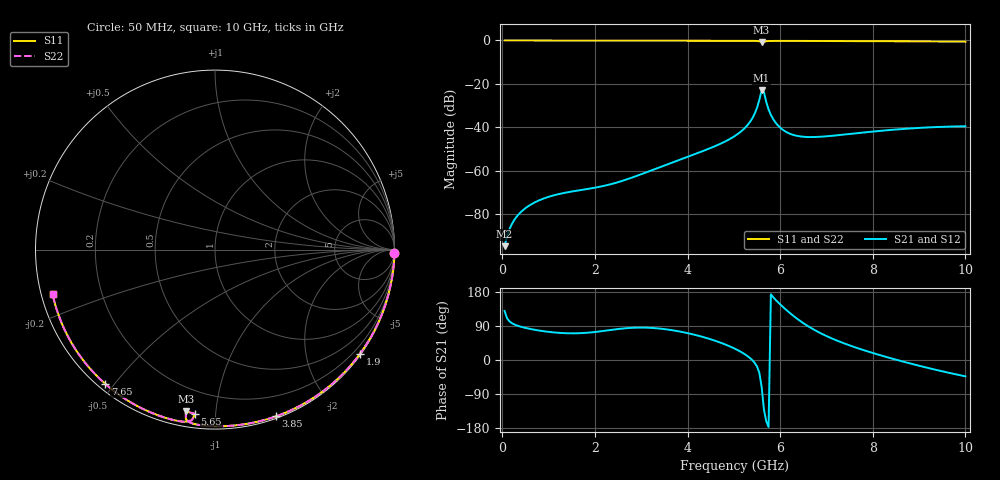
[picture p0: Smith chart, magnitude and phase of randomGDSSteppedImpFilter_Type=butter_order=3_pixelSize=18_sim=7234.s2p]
! freq	dB(S11)	phase(S11)	dB(S12)	phase(S12)
!  dB(S21)	phase(S21)	dB(S22)	phase(S22)
!S-par simulation data
#  GHz  S  DB  R 50
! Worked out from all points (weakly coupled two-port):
!   200 points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, 50 MHz to 10 GHz, reference 50 ohm
!   highest |S21| = -23.01 dB at 5.6 GHz (marker M1); lowest = -94.7 dB at 50 MHz (marker M2)
!   lowest |S11| = -0.8 dB at 5.6 GHz (marker M3), VSWR 22.56, Z = 3.76 - j41.6 ohm
!   |S11| at or under -10 dB: nowhere
!   |S22| runs from -0.8 to 0.0 dB; largest |S21 - S12| = 0
!   S11 on the Smith chart (normalised r, x): 50 MHz: open; 1.9 GHz: 0.03, -3.11; 3.85 GHz: 0.02, -1.43; 5.65 GHz: 0.07, -0.88; 7.65 GHz: 0.02, -0.47; 10 GHz: 0.03, -0.13
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0.05  -0.00 -1.0  -94.66 129.4  -94.66 129.4  -0.00 -1.0
0.35  -0.01 -6.7  -80.10 89.6  -80.10 89.6  -0.01 -6.7
0.6  -0.01 -11.4  -75.72 82.0  -75.72 82.0  -0.01 -11.4
0.9  -0.02 -17.1  -72.68 75.8  -72.68 75.8  -0.02 -17.1
1.75  -0.04 -32.9  -68.65 71.2  -68.65 71.2  -0.04 -32.9
1.9  -0.05 -35.6  -68.13 72.6  -68.13 72.6  -0.05 -35.6
2.55  -0.06 -47.3  -64.89 82.4  -64.89 82.4  -0.06 -47.3
3.4  -0.08 -62.3  -58.36 82.9  -58.36 82.9  -0.08 -62.3
3.85  -0.10 -69.9  -54.77 74.7  -54.77 74.7  -0.10 -69.9
5.05  -0.14 -89.9  -43.55 28.1  -43.55 28.1  -0.14 -89.9
5.4  -0.18 -96.0  -35.77 -0.5  -35.77 -0.5  -0.18 -96.0
5.5  -0.24 -98.3  -31.02 -17.1  -31.02 -17.1  -0.24 -98.3
5.6  -0.77 -100.3  -23.01 -70.7  -23.01 -70.7  -0.77 -100.3
5.65  -0.70 -96.9  -23.83 -130.7  -23.83 -130.7  -0.70 -96.9
5.7  -0.36 -97.7  -28.28 -161.9  -28.28 -161.9  -0.36 -97.7
5.8  -0.23 -100.2  -34.26 173.4  -34.26 173.4  -0.23 -100.2
6  -0.20 -103.8  -40.10 146.8  -40.10 146.8  -0.20 -103.8
6.3  -0.21 -108.7  -43.57 115.1  -43.57 115.1  -0.21 -108.7
6.7  -0.23 -114.9  -44.45 82.1  -44.45 82.1  -0.23 -114.9
7.65  -0.30 -129.2  -42.70 32.2  -42.70 32.2  -0.30 -129.2
8.35  -0.36 -139.6  -41.24 6.0  -41.24 6.0  -0.36 -139.6
10  -0.56 -164.7  -39.47 -43.1  -39.47 -43.1  -0.56 -164.7
